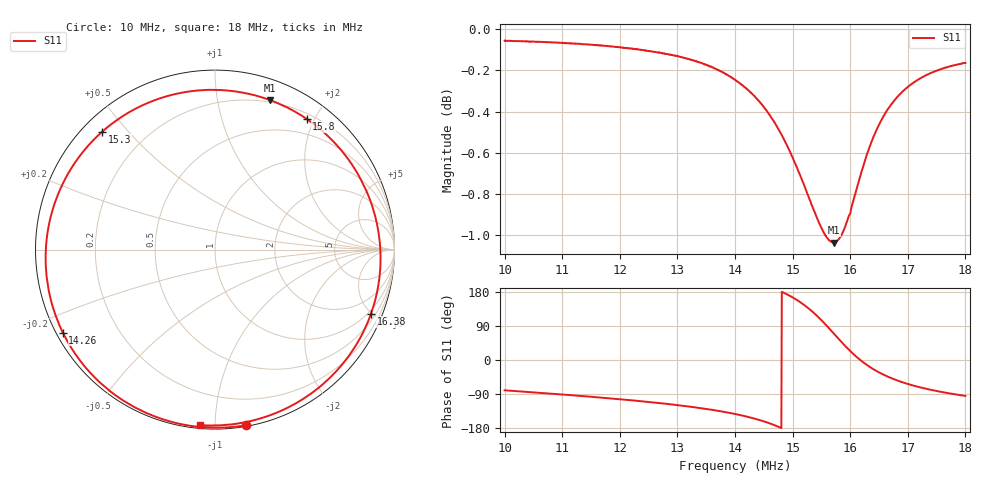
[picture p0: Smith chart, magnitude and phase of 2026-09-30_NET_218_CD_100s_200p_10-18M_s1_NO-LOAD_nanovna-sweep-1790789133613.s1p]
! NanoVNA Web complex sweep
! Processing: unaveraged complex samples; linear segment spacing; no smoothing
# Hz S RI R 50
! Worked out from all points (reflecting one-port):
!   1010 points, 10 MHz to 18 MHz, reference 50 ohm
!   lowest |S11| = -1.0 dB at 15.72 MHz (marker M1), VSWR 16.78, Z = 9.06 + j71 ohm
!   phase of S11 starts at -80 deg and turns -375 deg over the sweep
!   S11 on the Smith chart (normalised r, x): 10 MHz: 0.01, -1.19; 14.26 MHz: 0.02, -0.25; 15.3 MHz: 0.06, +0.43; 15.8 MHz: 0.27, +1.89; 16.38 MHz: 0.80, -4.93; 18 MHz: 0.02, -0.92
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1e7  0.1733 -0.9785
1.100698e7  -0.0194 -0.9922
1.200604e7  -0.232 -0.9624
1.300509e7  -0.4787 -0.8609
1.356012e7  -0.6363 -0.7448
1.400414e7  -0.772 -0.5908
1.425787e7  -0.848 -0.4621
1.464639e7  -0.9357 -0.1707
1.484462e7  -0.9399 0.0394
1.50032e7  -0.8987 0.2416
1.515385e7  -0.7993 0.4551
1.529657e7  -0.6287 0.6565
1.540758e7  -0.435 0.7891
1.552651e7  -0.1711 0.8767
1.562166e7  0.0671 0.8866
1.571681e7  0.308 0.8323
1.580403e7  0.5104 0.7281
1.59071e7  0.7049 0.5519
1.600225e7  0.828 0.3581
1.608947e7  0.8952 0.1746
1.617669e7  0.9211 -0.0032
1.638284e7  0.8691 -0.3582
1.651764e7  0.7864 -0.5314
1.666829e7  0.6773 -0.6761
1.682687e7  0.5591 -0.7842
1.700131e7  0.4351 -0.865
1.742154e7  0.18 -0.9594
1.800036e7  -0.081 -0.978
